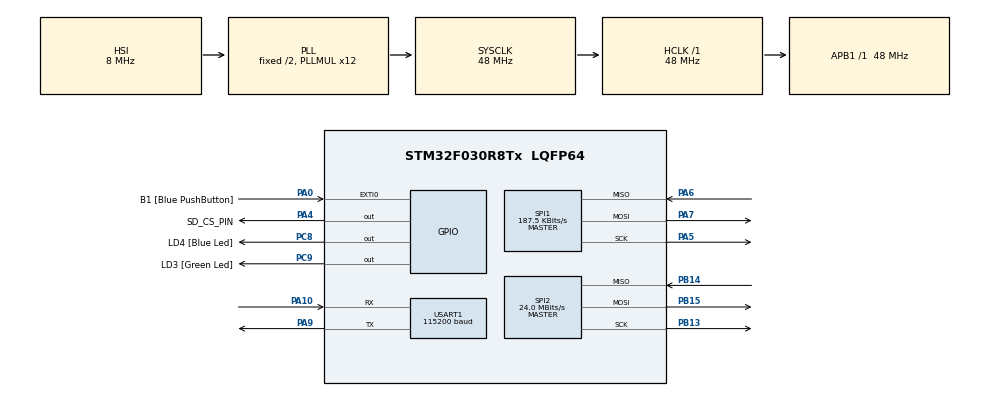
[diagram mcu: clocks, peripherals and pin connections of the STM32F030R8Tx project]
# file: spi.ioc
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Mcu.Family=STM32F0
Mcu.Name=STM32F030R8Tx
Mcu.Package=LQFP64
NVIC.TIM6_IRQn=true\:0\:0\:false\:false\:true\:true\:true
NVIC.USART1_IRQn=true\:0\:0\:false\:false\:true\:true\:true
PA0.GPIO_Label=B1 [Blue PushButton]
PA0.GPIO_ModeDefaultEXTI=GPIO_MODE_EVT_RISING
PA0.Signal=GPXTI0
PA10.Mode=Asynchronous
PA10.Signal=USART1_RX
PA13.GPIO_Label=SWDIO
PA13.Signal=SYS_SWDIO
PA14.GPIO_Label=SWCLK
PA14.Signal=SYS_SWCLK
PA4.GPIO_Label=SD_CS_PIN
PA4.Signal=GPIO_Output
PA5.Mode=Full_Duplex_Master
PA5.Signal=SPI1_SCK
PA6.Mode=Full_Duplex_Master
PA6.Signal=SPI1_MISO
PA7.Mode=Full_Duplex_Master
PA7.Signal=SPI1_MOSI
PA9.Mode=Asynchronous
PA9.Signal=USART1_TX
PB13.Mode=Full_Duplex_Master
PB13.Signal=SPI2_SCK
PB14.Mode=Full_Duplex_Master
PB14.Signal=SPI2_MISO
PB15.Mode=Full_Duplex_Master
PB15.Signal=SPI2_MOSI
PC8.GPIO_Label=LD4 [Blue Led]
PC8.Signal=GPIO_Output
PC9.GPIO_Label=LD3 [Green Led]
PC9.Signal=GPIO_Output
ProjectManager.HeapSize=0x200
ProjectManager.StackSize=0x400
ProjectManager.TargetToolchain=TrueSTUDIO
RCC.AHBFreq_Value=48000000
RCC.APB1Freq_Value=48000000
RCC.APB1TimFreq_Value=48000000
RCC.HCLKFreq_Value=48000000
RCC.PLLMUL=RCC_PLL_MUL12
RCC.SYSCLKFreq_VALUE=48000000
RCC.SYSCLKSource=RCC_SYSCLKSOURCE_PLLCLK
SPI1.BaudRatePrescaler=SPI_BAUDRATEPRESCALER_256
SPI1.CalculateBaudRate=187.5 KBits/s
SPI1.Direction=SPI_DIRECTION_2LINES
SPI1.Mode=SPI_MODE_MASTER
SPI1.VirtualType=VM_MASTER
SPI2.BaudRatePrescaler=SPI_BAUDRATEPRESCALER_2
SPI2.CalculateBaudRate=24.0 MBits/s
SPI2.Direction=SPI_DIRECTION_2LINES
SPI2.Mode=SPI_MODE_MASTER
SPI2.VirtualType=VM_MASTER
TIM6.AutoReloadPreload=TIM_AUTORELOAD_PRELOAD_ENABLE
TIM6.Period=100
TIM6.Prescaler=10
USART1.BaudRate=115200
USART1.VirtualMode-Asynchronous=VM_ASYNC
VP_TIM6_VS_ClockSourceINT.Mode=Enable_Timer
board=32F0308DISCOVERY

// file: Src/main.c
/* USER CODE BEGIN Header */
/**
  ******************************************************************************
  * @file           : main.c
  * @brief          : Main program body
  ******************************************************************************
  * @attention
  *
  * <h2><center>&copy; Copyright (c) 2019 STMicroelectronics.
  * All rights reserved.</center></h2>
  *
  * This software component is licensed by ST under BSD 3-Clause license,
  * the "License"; You may not use this file except in compliance with the
  * License. You may obtain a copy of the License at:
  *                        opensource.org/licenses/BSD-3-Clause
  *
  ******************************************************************************
  */
/* USER CODE END Header */

#include "main.h"
#include "cgpio.h"
#include "sdio.h"
#include "fat32.h"

SPI_HandleTypeDef hspi1;
SPI_HandleTypeDef hspi2;

TIM_HandleTypeDef htim6;

UART_HandleTypeDef huart1;

/* USER CODE BEGIN PV */
	uint8_t spi_rx[100];
	uint8_t spi_tx[100];
	uint32_t blink_counter = 0;
/* USER CODE END PV */

void SystemClock_Config(void);
static void MX_GPIO_Init(void);
static void MX_SPI1_Init(void);
static void MX_TIM6_Init(void);
static void MX_USART1_UART_Init(void);
static void MX_SPI2_Init(void);

int main(void)
{

  /* MCU Configuration--------------------------------------------------------*/

  /* Reset of all peripherals, Initializes the Flash interface and the Systick. */
  HAL_Init();

  /* USER CODE BEGIN Init */
	setvbuf(stdout, NULL, _IONBF, 0);
  /* USER CODE END Init */

  /* Configure the system clock */
  SystemClock_Config();

  /* Initialize all configured peripherals */
  MX_GPIO_Init();
  MX_SPI1_Init();
  MX_TIM6_Init();
  MX_USART1_UART_Init();
  MX_SPI2_Init();
  /* USER CODE BEGIN 2 */
	st_fat32           disk0;
	SD_CardInfo        card_info;
	st_file_entry	   bin_files[ 12 ];
	uint8_t file_name[15] = {0};

	printf("Program start! \r\n");
	if ( sd_card_init() == BSP_SD_OK){
		if ( !fat32_init ( &disk0 ) )
		{
			printf("file system not ready\r\n" );
		}
		else{
			printf("FAT32 ready!!\r\n");

			BSP_SD_GetCardInfo(&card_info);
			printf("device capacity %d\r\n",card_info.CardCapacity);
			fat32_list_files_by_extention(&disk0, bin_files,"BIN");
			printf("number of bin files %d\n",disk0.FileCntr );
			if (disk0.FileCntr ){
				memset(file_name,0,sizeof(file_name));
				memcpy(file_name, bin_files[1].sfn, 10);
				printf("File name %s \r\n",file_name);
			}
		}
	}
  /* USER CODE END 2 */

  /* Infinite loop */
  while (1)
  {

    /* USER CODE BEGIN 3 */

	//HAL_SPI_Transmit (&hspi1,spi_tx, 2, HAL_MAX_DELAY);
	/*! \todo add trasmition reception */
//	HAL_SPI_TransmitReceive(^hspi1, spi_tx, spi_rx, );
	if (HAL_GetTick () > blink_counter  ) {
		blink_counter = HAL_GetTick () + 1000;
		LED_BLUE_TOGGLE();
	}
  }
  /* USER CODE END 3 */
}

void SystemClock_Config(void)
{
  RCC_OscInitTypeDef RCC_OscInitStruct = {0};
  RCC_ClkInitTypeDef RCC_ClkInitStruct = {0};
  RCC_PeriphCLKInitTypeDef PeriphClkInit = {0};

  /** Initializes the CPU, AHB and APB busses clocks
  */
  RCC_OscInitStruct.OscillatorType = RCC_OSCILLATORTYPE_HSI;
  RCC_OscInitStruct.HSIState = RCC_HSI_ON;
  RCC_OscInitStruct.HSICalibrationValue = RCC_HSICALIBRATION_DEFAULT;
  RCC_OscInitStruct.PLL.PLLState = RCC_PLL_ON;
  RCC_OscInitStruct.PLL.PLLSource = RCC_PLLSOURCE_HSI;
  RCC_OscInitStruct.PLL.PLLMUL = RCC_PLL_MUL12;
  RCC_OscInitStruct.PLL.PREDIV = RCC_PREDIV_DIV1;
  if (HAL_RCC_OscConfig(&RCC_OscInitStruct) != HAL_OK)
  {
    Error_Handler();
  }
  /** Initializes the CPU, AHB and APB busses clocks
  */
  RCC_ClkInitStruct.ClockType = RCC_CLOCKTYPE_HCLK|RCC_CLOCKTYPE_SYSCLK
                              |RCC_CLOCKTYPE_PCLK1;
  RCC_ClkInitStruct.SYSCLKSource = RCC_SYSCLKSOURCE_PLLCLK;
  RCC_ClkInitStruct.AHBCLKDivider = RCC_SYSCLK_DIV1;
  RCC_ClkInitStruct.APB1CLKDivider = RCC_HCLK_DIV1;

  if (HAL_RCC_ClockConfig(&RCC_ClkInitStruct, FLASH_LATENCY_1) != HAL_OK)
  {
    Error_Handler();
  }
  PeriphClkInit.PeriphClockSelection = RCC_PERIPHCLK_USART1;
  PeriphClkInit.Usart1ClockSelection = RCC_USART1CLKSOURCE_PCLK1;
  if (HAL_RCCEx_PeriphCLKConfig(&PeriphClkInit) != HAL_OK)
  {
    Error_Handler();
  }
}

static void MX_SPI1_Init(void)
{

  /* SPI1 parameter configuration*/
  hspi1.Instance = SPI1;
  hspi1.Init.Mode = SPI_MODE_MASTER;
  hspi1.Init.Direction = SPI_DIRECTION_2LINES;
  hspi1.Init.DataSize = SPI_DATASIZE_8BIT;
  hspi1.Init.CLKPolarity = SPI_POLARITY_HIGH;
  hspi1.Init.CLKPhase = SPI_PHASE_2EDGE	;
  hspi1.Init.NSS = SPI_NSS_SOFT;
  hspi1.Init.BaudRatePrescaler = SPI_BAUDRATEPRESCALER_128;
  hspi1.Init.FirstBit = SPI_FIRSTBIT_MSB;
  hspi1.Init.TIMode = SPI_TIMODE_DISABLE;
  hspi1.Init.CRCCalculation = SPI_CRCCALCULATION_DISABLE;
  hspi1.Init.CRCPolynomial = 7;
  hspi1.Init.CRCLength = SPI_CRC_LENGTH_DATASIZE;
  hspi1.Init.NSSPMode = SPI_NSS_PULSE_ENABLE;
  if (HAL_SPI_Init(&hspi1) != HAL_OK)
  {
    Error_Handler();
  }

}

static void MX_SPI2_Init(void)
{

  /* SPI2 parameter configuration*/
  hspi2.Instance = SPI2;
  hspi2.Init.Mode = SPI_MODE_MASTER;
  hspi2.Init.Direction = SPI_DIRECTION_2LINES;
  hspi2.Init.DataSize = SPI_DATASIZE_4BIT;
  hspi2.Init.CLKPolarity = SPI_POLARITY_LOW;
  hspi2.Init.CLKPhase = SPI_PHASE_1EDGE;
  hspi2.Init.NSS = SPI_NSS_SOFT;
  hspi2.Init.BaudRatePrescaler = SPI_BAUDRATEPRESCALER_2;
  hspi2.Init.FirstBit = SPI_FIRSTBIT_MSB;
  hspi2.Init.TIMode = SPI_TIMODE_DISABLE;
  hspi2.Init.CRCCalculation = SPI_CRCCALCULATION_DISABLE;
  hspi2.Init.CRCPolynomial = 7;
  hspi2.Init.CRCLength = SPI_CRC_LENGTH_DATASIZE;
  hspi2.Init.NSSPMode = SPI_NSS_PULSE_ENABLE;
  if (HAL_SPI_Init(&hspi2) != HAL_OK)
  {
    Error_Handler();
  }

}

static void MX_TIM6_Init(void)
{

  htim6.Instance = TIM6;
  htim6.Init.Prescaler = 10;
  htim6.Init.CounterMode = TIM_COUNTERMODE_UP;
  htim6.Init.Period = 100;
  htim6.Init.AutoReloadPreload = TIM_AUTORELOAD_PRELOAD_ENABLE;
  if (HAL_TIM_Base_Init(&htim6) != HAL_OK)
  {
    Error_Handler();
  }

}

static void MX_USART1_UART_Init(void)
{

  huart1.Instance = USART1;
  huart1.Init.BaudRate = 921600;//115200;
  huart1.Init.WordLength = UART_WORDLENGTH_8B;
  huart1.Init.StopBits = UART_STOPBITS_1;
  huart1.Init.Parity = UART_PARITY_NONE;
  huart1.Init.Mode = UART_MODE_TX_RX;
  huart1.Init.HwFlowCtl = UART_HWCONTROL_NONE;
  huart1.Init.OverSampling = UART_OVERSAMPLING_16;
  huart1.Init.OneBitSampling = UART_ONE_BIT_SAMPLE_DISABLE;
  huart1.AdvancedInit.AdvFeatureInit = UART_ADVFEATURE_NO_INIT;
  if (HAL_UART_Init(&huart1) != HAL_OK)
  {
    Error_Handler();
  }

}

static void MX_GPIO_Init(void)
{
  GPIO_InitTypeDef GPIO_InitStruct = {0};

  /* GPIO Ports Clock Enable */
  __HAL_RCC_GPIOA_CLK_ENABLE();
  __HAL_RCC_GPIOB_CLK_ENABLE();
  __HAL_RCC_GPIOC_CLK_ENABLE();

  /*Configure GPIO pin Output Level */
  HAL_GPIO_WritePin(SD_CS_PIN_GPIO_Port, SD_CS_PIN_Pin, GPIO_PIN_RESET);

  /*Configure GPIO pin Output Level */
  HAL_GPIO_WritePin(GPIOC, LD4_Pin|LD3_Pin, GPIO_PIN_RESET);

  /*Configure GPIO pin : B1_Pin */
  GPIO_InitStruct.Pin = B1_Pin;
  GPIO_InitStruct.Mode = GPIO_MODE_EVT_RISING;
  GPIO_InitStruct.Pull = GPIO_NOPULL;
  HAL_GPIO_Init(B1_GPIO_Port, &GPIO_InitStruct);

  /*Configure GPIO pin : SD_CS_PIN_Pin */
  GPIO_InitStruct.Pin = SD_CS_PIN_Pin;
  GPIO_InitStruct.Mode = GPIO_MODE_OUTPUT_PP;
  GPIO_InitStruct.Pull = GPIO_NOPULL;
  GPIO_InitStruct.Speed = GPIO_SPEED_FREQ_LOW;
  HAL_GPIO_Init(SD_CS_PIN_GPIO_Port, &GPIO_InitStruct);

  /*Configure GPIO pins : LD4_Pin LD3_Pin */
  GPIO_InitStruct.Pin = LD4_Pin|LD3_Pin;
  GPIO_InitStruct.Mode = GPIO_MODE_OUTPUT_PP;
  GPIO_InitStruct.Pull = GPIO_NOPULL;
  GPIO_InitStruct.Speed = GPIO_SPEED_FREQ_LOW;
  HAL_GPIO_Init(GPIOC, &GPIO_InitStruct);

}

void Error_Handler(void)
{
}

/************************ (C) COPYRIGHT STMicroelectronics *****END OF FILE****/
